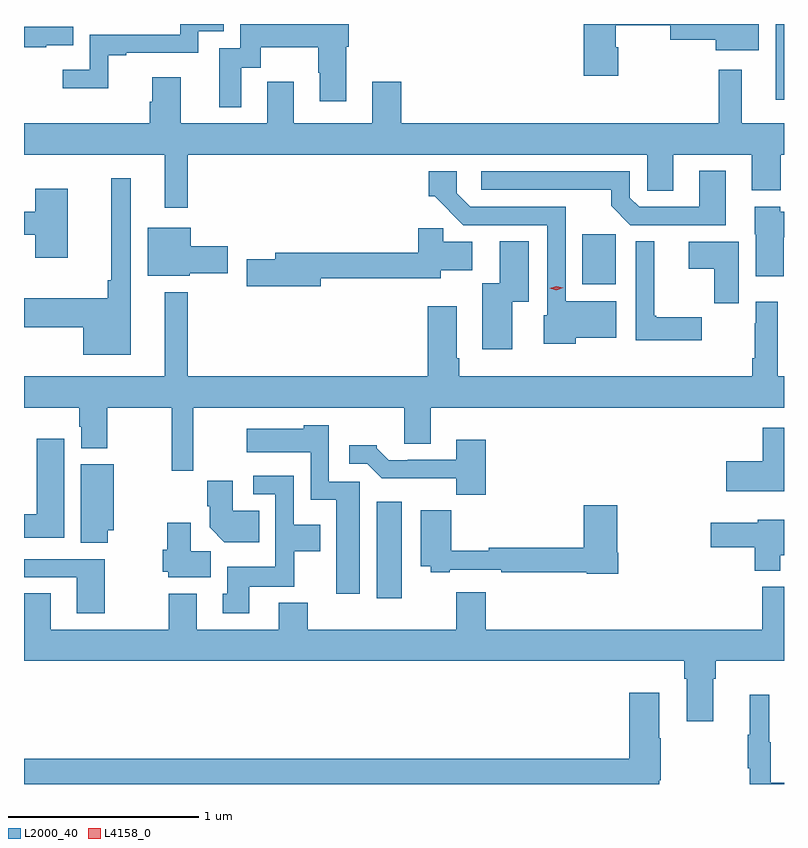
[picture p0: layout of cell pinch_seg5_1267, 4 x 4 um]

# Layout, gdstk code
import gdstk
lib = gdstk.Library(unit=1e-6, precision=1e-09)
def R(c, l, rs):  # rectangles x0, y0, x1, y1
    for r in rs: c.add(gdstk.rectangle(r[:2], r[2:], *l))
def P(c, l, *ps):  # polygons
    for p in ps: c.add(gdstk.Polygon(p, *l))
L2000_40 = (2000, 40)
L4158_0 = (4158, 0)

pinch_seg5_1267 = lib.new_cell('pinch_seg5_1267')
R(pinch_seg5_1267, L2000_40, [(411.995,849.096,412.126,849.604), (413.078,850.748,413.254,851.012), (414.095,851.721,414.139,852.119)])
P(pinch_seg5_1267, L2000_40, [(413.267,851.997),(413.254,851.997),(413.254,852.112),(413.54,852.112),(413.54,852.035),(413.78,852.035),(413.78,851.981),(414.007,851.981),(414.007,852.119),(413.084,852.119),(413.084,851.847),(413.267,851.847)],
  [(410.583,851.955),(410.677,851.955),(410.677,851.967),(411.057,851.967),(411.057,852.081),(411.191,852.081),(411.191,852.119),(410.961,852.119),(410.961,852.063),(410.484,852.063),(410.484,851.878),(410.343,851.878),(410.343,851.78),(410.583,851.78)],
  [(411.283,851.89),(411.385,851.89),(411.385,851.996),(411.688,851.996),(411.688,851.862),(411.695,851.862),(411.695,851.712),(411.835,851.712),(411.835,852),(411.848,852),(411.848,852.119),(411.276,852.119),(411.276,851.991),(411.167,851.991),(411.167,851.682),(411.283,851.682)],
  [(410.255,852.008),(410.399,852.008),(410.399,852.105),(410.139,852.105),(410.139,851.997),(410.255,851.997)],
  [(411.001,851.432),(413.418,851.432),(413.418,851.242),(413.557,851.242),(413.557,851.432),(413.969,851.432),(413.969,851.243),(414.122,851.243),(414.122,851.432),(414.139,851.432),(414.139,851.596),(413.917,851.596),(413.917,851.878),(413.796,851.878),(413.796,851.596),(412.124,851.596),(412.124,851.815),(411.971,851.815),(411.971,851.596),(411.559,851.596),(411.559,851.815),(411.419,851.815),(411.419,851.596),(410.965,851.596),(410.965,851.839),(410.813,851.839),(410.813,851.709),(410.801,851.709),(410.801,851.596),(410.139,851.596),(410.139,851.432),(410.879,851.432),(410.879,851.151),(411.001,851.151)],
  [(413.833,851.347),(413.693,851.347),(413.693,851.157),(413.376,851.157),(413.328,851.205),(413.328,851.343),(412.545,851.343),(412.545,851.247),(413.23,851.247),(413.23,851.163),(413.331,851.061),(413.833,851.061)],
  [(413.043,850.469),(413.257,850.469),(413.257,850.66),(412.989,850.66),(412.989,851.157),(412.488,851.157),(412.416,851.229),(412.416,851.343),(412.269,851.343),(412.269,851.213),(412.3,851.213),(412.452,851.061),(412.893,851.061),(412.893,850.587),(412.874,850.587),(412.874,850.436),(413.043,850.436)],
  [(410.701,851.308),(410.597,851.308),(410.597,850.771),(410.58,850.771),(410.58,850.675),(410.139,850.675),(410.139,850.523),(410.45,850.523),(410.45,850.379),(410.701,850.379)],
  [(410.368,851.251),(410.198,851.251),(410.198,851.131),(410.139,851.131),(410.139,851.01),(410.198,851.01),(410.198,850.89),(410.368,850.89)],
  [(414.137,850.997),(414.139,850.997),(414.139,851.131),(414.12,851.131),(414.12,851.158),(413.984,851.158),(413.984,851.013),(413.99,851.013),(413.99,850.791),(414.137,850.791)],
  [(411.012,850.808),(411.211,850.808),(411.211,850.95),(411.016,850.95),(411.016,851.047),(410.789,851.047),(410.789,850.793),(411.012,850.793)],
  [(411.7,850.78),(412.332,850.78),(412.332,850.822),(412.497,850.822),(412.497,850.972),(412.346,850.972),(412.346,851.045),(412.214,851.045),(412.214,850.916),(411.461,850.916),(411.461,850.88),(411.312,850.88),(411.312,850.738),(411.7,850.738)],
  [(412.708,850.658),(412.795,850.658),(412.795,850.976),(412.643,850.976),(412.643,850.755),(412.55,850.755),(412.55,850.407),(412.708,850.407)],
  [(413.707,850.576),(413.467,850.576),(413.467,850.584),(413.456,850.584),(413.456,850.976),(413.358,850.976),(413.358,850.454),(413.707,850.454)],
  [(413.902,850.972),(413.637,850.972),(413.637,850.832),(413.773,850.832),(413.773,850.65),(413.902,850.65)],
  [(411.029,850.1),(412.139,850.1),(412.139,849.91),(412.279,849.91),(412.279,850.1),(414.139,850.1),(414.139,850.264),(414.107,850.264),(414.107,850.657),(413.991,850.657),(413.991,850.544),(413.986,850.544),(413.986,850.36),(413.971,850.36),(413.971,850.264),(412.43,850.264),(412.43,850.36),(412.417,850.36),(412.417,850.633),(412.265,850.633),(412.265,850.264),(411.001,850.264),(411.001,850.708),(410.879,850.708),(410.879,850.264),(410.139,850.264),(410.139,850.1),(410.429,850.1),(410.429,849.999),(410.441,849.999),(410.441,849.887),(410.577,849.887),(410.577,850.1),(410.916,850.1),(410.916,849.768),(411.029,849.768)],
  [(411.907,849.711),(411.744,849.711),(411.744,850.006),(411.612,850.006),(411.612,849.988),(411.312,849.988),(411.312,849.866),(411.648,849.866),(411.648,849.614),(411.782,849.614),(411.782,849.12),(411.907,849.12)],
  [(414.139,849.994),(414.028,849.994),(414.028,849.817),(413.835,849.817),(413.835,849.659),(414.139,849.659)],
  [(410.35,849.937),(410.207,849.937),(410.207,849.538),(410.139,849.538),(410.139,849.416),(410.35,849.416)],
  [(412.568,849.931),(412.415,849.931),(412.415,849.825),(412.159,849.825),(412.159,849.822),(412.06,849.822),(411.996,849.886),(411.996,849.901),(411.852,849.901),(411.852,849.804),(411.945,849.804),(412.021,849.728),(412.413,849.728),(412.413,849.641),(412.568,849.641)],
  [(410.58,849.455),(410.611,849.455),(410.611,849.802),(410.438,849.802),(410.438,849.388),(410.58,849.388)],
  [(411.325,849.158),(411.561,849.158),(411.561,849.344),(411.697,849.344),(411.697,849.484),(411.558,849.484),(411.558,849.741),(411.345,849.741),(411.345,849.645),(411.462,849.645),(411.462,849.262),(411.209,849.262),(411.209,849.12),(411.185,849.12),(411.185,849.018),(411.325,849.018)],
  [(411.377,849.556),(411.238,849.556),(411.238,849.715),(411.104,849.715),(411.104,849.58),(411.116,849.58),(411.116,849.47),(411.194,849.392),(411.377,849.392)],
  [(413.267,849.337),(413.262,849.337),(413.262,849.586),(413.084,849.586),(413.084,849.362),(412.586,849.362),(412.586,849.347),(412.388,849.347),(412.388,849.559),(412.226,849.559),(412.226,849.266),(412.281,849.266),(412.281,849.234),(412.381,849.234),(412.381,849.246),(412.651,849.246),(412.651,849.234),(413.1,849.234),(413.1,849.226),(413.267,849.226)],
  [(414.118,849.323),(414.139,849.323),(414.139,849.511),(414,849.511),(414,849.493),(413.754,849.493),(413.754,849.364),(413.984,849.364),(413.984,849.242),(414.118,849.242)],
  [(411.121,849.344),(411.016,849.344),(411.016,849.493),(410.894,849.493),(410.894,849.351),(410.869,849.351),(410.869,849.237),(410.898,849.237),(410.898,849.206),(411.121,849.206)],
  [(410.565,849.303),(410.139,849.303),(410.139,849.207),(410.417,849.207),(410.417,849.018),(410.565,849.018)],
  [(412.415,849.127),(412.415,848.932),(411.632,848.932),(411.632,849.073),(411.479,849.073),(411.479,848.932),(411.049,848.932),(411.049,849.121),(410.902,849.121),(410.902,848.932),(410.281,848.932),(410.281,849.122),(410.139,849.122),(410.139,848.768),(413.615,848.768),(413.615,848.672),(413.627,848.672),(413.627,848.448),(413.767,848.448),(413.767,848.672),(413.78,848.672),(413.78,848.768),(414.139,848.768),(414.139,849.157),(414.025,849.157),(414.025,848.932),(412.568,848.932),(412.568,849.127)],
  [(413.482,848.139),(413.49,848.139),(413.49,848.36),(413.482,848.36),(413.482,848.599),(413.324,848.599),(413.324,848.252),(410.139,848.252),(410.139,848.119),(413.482,848.119)],
  [(414.139,848.126),(414.07,848.126),(414.07,848.34),(414.062,848.34),(414.062,848.59),(413.96,848.59),(413.96,848.377),(413.949,848.377),(413.949,848.203),(413.96,848.203),(413.96,848.119),(414.139,848.119)])
P(pinch_seg5_1267, L4158_0, [(412.941,850.719),(412.905,850.727),(412.905,850.727),(412.905,850.727),(412.94,850.739),(412.977,850.73),(412.977,850.73),(412.977,850.73)])

lib.write_gds('pinch_seg5_1267.gds')
